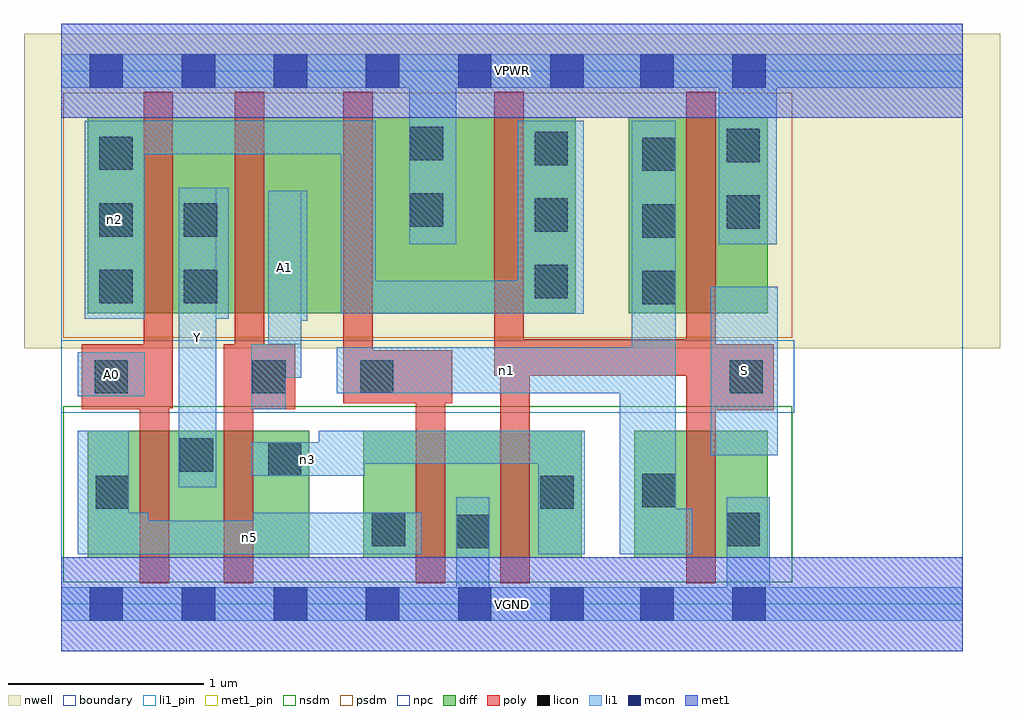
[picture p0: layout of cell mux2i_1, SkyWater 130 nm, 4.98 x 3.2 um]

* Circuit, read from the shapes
.subckt mux2i_1 A0 A1 S VGND VPWR Y n1 n2 n3 n5
XM1 Y A0 n5 VSUBS sky130_fd_pr__nfet_01v8 w=0.65 l=0.15
XM2 n3 A1 Y VSUBS sky130_fd_pr__nfet_01v8 w=0.65 l=0.15
XM3 VGND n1 n5 VSUBS sky130_fd_pr__nfet_01v8 w=0.65 l=0.15
XM4 n3 S VGND VSUBS sky130_fd_pr__nfet_01v8 w=0.65 l=0.15
XM5 VGND S n1 VSUBS sky130_fd_pr__nfet_01v8 w=0.65 l=0.15
XM6 Y A0 n2 n4 sky130_fd_pr__pfet_01v8 w=1 l=0.15
XM7 n6 A1 Y n4 sky130_fd_pr__pfet_01v8 w=1 l=0.15
XM8 VPWR n1 n6 n4 sky130_fd_pr__pfet_01v8 w=1 l=0.15
XM9 n2 S VPWR n4 sky130_fd_pr__pfet_01v8 w=1 l=0.15
XM10 VPWR S n1 n4 sky130_fd_pr__pfet_01v8 w=1 l=0.15
.ends

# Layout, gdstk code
import gdstk
lib = gdstk.Library(unit=1e-6, precision=1e-09)
def R(c, l, rs):  # rectangles x0, y0, x1, y1
    for r in rs: c.add(gdstk.rectangle(r[:2], r[2:], *l))
def A(c, l, x, y, w, h, nx, ny, dx, dy):  # array of equal rectangles
    R(c, l, [(x+i*dx, y+j*dy, x+i*dx+w, y+j*dy+h) for i in range(nx) for j in range(ny)])
nwell = (64, 20)
diff = (65, 20)
poly = (66, 20)
licon = (66, 44)
li1_pin = (67, 16)
li1 = (67, 20)
mcon = (67, 44)
met1_pin = (68, 16)
met1 = (68, 20)
nsdm = (93, 44)
psdm = (94, 20)
npc = (95, 20)
boundary = (235, 4)

mux2i_1 = lib.new_cell('mux2i_1')
R(mux2i_1, nwell, [(-0.19,1.305,4.79,2.91), (0,1.305,4.6,2.91)])
R(mux2i_1, diff, [(0.135,0.235,1.265,0.885), (1.54,0.235,2.655,0.885), (2.925,0.235,3.605,0.885), (0.135,1.485,2.625,2.485), (2.895,1.485,3.605,2.485)])
R(mux2i_1, poly, [(0.4,0.105,0.55,1.325), (0.83,0.105,0.98,1.325), (1.81,0.105,1.96,1.295), (2.24,0.105,2.39,1.35), (3.19,0.105,3.34,2.615), (3.19,0.99,3.635,1.325), (0.105,0.995,0.55,1.325), (0.83,0.995,1.195,1.325), (0.885,0.995,1.035,2.615), (0.42,1,0.57,2.615), (1.44,1.025,1.59,2.615), (1.44,1.025,1.995,1.295), (2.21,1.165,2.36,2.615), (2.21,1.165,3.34,1.35)])
A(mux2i_1, licon, 2.965, 1.53, 0.17, 0.17, 1, 3, 0, 0.34)
A(mux2i_1, licon, 0.195, 1.535, 0.17, 0.17, 1, 3, 0, 0.34)
A(mux2i_1, licon, 2.415, 1.56, 0.17, 0.17, 1, 3, 0, 0.34)
R(mux2i_1, licon, [(2.015,0.285,2.185,0.455), (1.585,0.295,1.755,0.465), (3.395,0.295,3.565,0.465), (0.175,0.485,0.345,0.655), (2.445,0.485,2.615,0.655), (2.965,0.495,3.135,0.665), (1.055,0.655,1.225,0.825), (0.605,0.675,0.775,0.845), (0.17,1.075,0.34,1.245), (0.975,1.075,1.145,1.245), (1.525,1.075,1.695,1.245), (3.41,1.075,3.58,1.245), (0.625,1.535,0.795,1.705), (0.625,1.875,0.795,2.045), (3.395,1.915,3.565,2.085), (1.78,1.925,1.95,2.095), (3.395,2.255,3.565,2.425), (1.78,2.265,1.95,2.435)])
R(mux2i_1, li1_pin, [(0.6,0.595,0.79,2.125), (3.315,0.76,3.655,1.62), (0.085,1.06,0.425,1.285), (1.055,1.325,1.225,2.11)])
R(mux2i_1, li1, [(0,-0.085,4.6,0.085), (2.015,-0.085,2.185,0.545), (3.395,-0.085,3.615,0.545), (0.085,0.255,1.84,0.425), (0.085,0.255,0.345,0.885), (0.085,0.255,0.445,0.465), (0.98,0.255,1.84,0.465), (2.435,0.255,2.67,0.885), (2.85,0.255,3.135,1.31), (2.85,0.255,3.22,0.485), (2.91,0.255,3.135,2.465), (0.6,0.595,0.79,2.125), (0.97,0.655,1.545,0.825), (1.315,0.715,2.435,0.885), (3.315,0.76,3.655,1.62), (0.97,0.995,1.145,1.325), (0.085,1.06,0.425,1.285), (1.405,1.075,3.135,1.31), (1.145,1.155,1.225,2.11), (1.055,1.325,1.225,2.11), (1.055,1.445,1.255,2.11), (0.12,1.455,0.425,2.465), (0.6,1.455,0.855,2.125), (1.425,1.48,2.665,1.65), (1.425,1.48,1.605,2.465), (2.33,1.48,2.665,2.465), (1.775,1.835,2.015,2.805), (3.355,1.835,3.65,2.805), (0.12,2.295,1.605,2.465), (0,2.635,4.6,2.805)])
A(mux2i_1, mcon, 0.145, -0.085, 0.17, 0.17, 6, 2, 0.47, 2.72)
R(mux2i_1, mcon, [(2.955,-0.085,3.125,0.085), (3.425,-0.085,3.595,0.085), (2.955,2.635,3.125,2.805), (3.425,2.635,3.595,2.805)])
R(mux2i_1, met1_pin, [(0,-0.24,4.6,0.24), (0,2.48,4.6,2.96)])
R(mux2i_1, met1, [(0,-0.24,4.6,0.24), (0,2.48,4.6,2.96)])
R(mux2i_1, nsdm, [(0.01,0.11,3.73,1.01)])
R(mux2i_1, psdm, [(0.01,1.36,3.73,2.61)])
R(mux2i_1, npc, [(0,0.975,3.74,1.345)])
R(mux2i_1, boundary, [(0,0,4.6,2.72)])
mux2i_1.add(gdstk.Label('A0', (0.255,1.172), layer=67, texttype=5))
mux2i_1.add(gdstk.Label('A1', (1.14,1.717), layer=67, texttype=5))
mux2i_1.add(gdstk.Label('S', (3.485,1.19), layer=67, texttype=5))
mux2i_1.add(gdstk.Label('Y', (0.695,1.36), layer=67, texttype=5))
mux2i_1.add(gdstk.Label('n5', (0.962,0.34), layer=67, texttype=5))
mux2i_1.add(gdstk.Label('n3', (1.257,0.74), layer=67, texttype=5))
mux2i_1.add(gdstk.Label('n2', (0.272,1.96), layer=67, texttype=5))
mux2i_1.add(gdstk.Label('n1', (2.27,1.192), layer=67, texttype=5))
mux2i_1.add(gdstk.Label('VPWR', (2.3,2.72), layer=68, texttype=5))
mux2i_1.add(gdstk.Label('VGND', (2.3,0), layer=68, texttype=5))
mux2i_1.add(gdstk.Label('A0', (0.255,1.172), layer=67, texttype=16))
mux2i_1.add(gdstk.Label('A1', (1.14,1.717), layer=67, texttype=16))
mux2i_1.add(gdstk.Label('S', (3.485,1.19), layer=67, texttype=16))
mux2i_1.add(gdstk.Label('Y', (0.695,1.36), layer=67, texttype=16))
mux2i_1.add(gdstk.Label('VPWR', (2.3,2.72), layer=68, texttype=16))
mux2i_1.add(gdstk.Label('VGND', (2.3,0), layer=68, texttype=16))

lib.write_gds('mux2i_1.gds')
